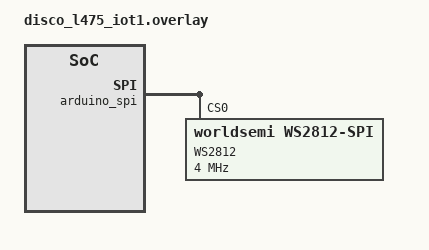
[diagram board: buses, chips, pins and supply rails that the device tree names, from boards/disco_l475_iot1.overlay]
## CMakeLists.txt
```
# SPDX-License-Identifier: Apache-2.0

cmake_minimum_required(VERSION 3.13.1)

set(COMPATIBLE_BOARDS disco_l475_iot1)
if(NOT ${BOARD} IN_LIST COMPATIBLE_BOARDS)
    message(FATAL_ERROR "App $ENV{UROS_APP} not compatible with board ${BOARD}")
endif()

set(BOARD_ROOT ${CMAKE_CURRENT_LIST_DIR})

include($ENV{ZEPHYR_BASE}/cmake/app/boilerplate.cmake NO_POLICY_SCOPE)
project(microrosapp C CXX)

set(microros_src_dir   ${MICRO_ROS_FIRMWARE_DIR}/zephyr_apps/microros_extensions)
set(microros_build_dir ${MICRO_ROS_FIRMWARE_DIR}/build/microros_extensions)

if(${MICRO_ROS_TRANSPORT} STREQUAL "serial")
    add_compile_definitions(MICRO_ROS_TRANSPORT_SERIAL)
elseif(${MICRO_ROS_TRANSPORT} STREQUAL "udp")
    add_compile_definitions(MICRO_ROS_TRANSPORT_UDP)
elseif(${MICRO_ROS_TRANSPORT} STREQUAL "serial-usb")
    add_compile_definitions(MICRO_ROS_TRANSPORT_SERIALUSB)
endif()

FILE(GLOB app_sources src/*.c ${microros_src_dir}/microros_transports.c)
include_directories(${microros_src_dir})

target_sources(app PRIVATE ${app_sources})

zephyr_get_include_directories_for_lang_as_string(       C includes)
zephyr_get_system_include_directories_for_lang_as_string(C system_includes)
zephyr_get_compile_definitions_for_lang_as_string(       C definitions)
zephyr_get_compile_options_for_lang_as_string(           C options)

zephyr_get_include_directories_for_lang_as_string(       CXX includes_cxx)
zephyr_get_system_include_directories_for_lang_as_string(CXX system_includes_cxx)
zephyr_get_compile_definitions_for_lang_as_string(       CXX definitions_cxx)
zephyr_get_compile_options_for_lang_as_string(           CXX options_cxx)

set(external_project_cflags
    "${includes} ${definitions} ${options} ${system_includes}"
    )

set(external_project_cxxflags
    "${includes_cxx} ${definitions_cxx} ${options_cxx} ${system_includes_cxx}"
    )

include(ExternalProject)

set(microros_src_dir   ${MICRO_ROS_FIRMWARE_DIR}/zephyr_apps/microros_extensions)
set(microros_build_dir ${MICRO_ROS_FIRMWARE_DIR}/build/microros_extensions)

if(CMAKE_GENERATOR STREQUAL "Unix Makefiles")
set(submake "$(MAKE)")
else()
set(submake "make")
endif()

ExternalProject_Add(
    microroslib_project                 # Name for custom target
    PREFIX     ${microros_build_dir}    # Root dir for entire project
    SOURCE_DIR ${microros_src_dir}
    BINARY_DIR ${microros_src_dir}      # This particular build system is invoked from the root
    CONFIGURE_COMMAND ""                # Skip configuring the project, e.g. with autoconf
    BUILD_COMMAND
        ${submake}
            PREFIX=${microros_src_dir}
            CC=${CMAKE_C_COMPILER}
            AR=${CMAKE_AR}
            CFLAGS=${external_project_cflags}
            CXX=${CMAKE_CXX_COMPILER}
            CXXFLAGS=${external_project_cxxflags}
            APP_META=$ENV{UROS_APP_FOLDER}/app-colcon.meta

    INSTALL_COMMAND ""      # This particular build system has no install command
    BUILD_BYPRODUCTS ${MICROROS_LIB_DIR}/libmicroros.a
    )

file(MAKE_DIRECTORY ${MICRO_ROS_FIRMWARE_DIR}/mcu_ws/install)
file(MAKE_DIRECTORY ${MICRO_ROS_FIRMWARE_DIR}/mcu_ws/install/include)

set(MICROROS_LIB_DIR     ${MICRO_ROS_FIRMWARE_DIR}/mcu_ws/install)
set(MICROROS_INCLUDE_DIR ${MICRO_ROS_FIRMWARE_DIR}/mcu_ws/install/include)

add_library(microroslib STATIC IMPORTED GLOBAL)
add_dependencies(
    microroslib
    microroslib_project
    )

add_dependencies(microroslib_project offsets_h)

set_target_properties(microroslib PROPERTIES IMPORTED_LOCATION             ${MICROROS_LIB_DIR}/libmicroros.a)
set_target_properties(microroslib PROPERTIES INTERFACE_INCLUDE_DIRECTORIES ${MICROROS_INCLUDE_DIR})

execute_process(
    COMMAND
        make get_package_names
    WORKING_DIRECTORY
        ${microros_src_dir}
    OUTPUT_VARIABLE
        INCLUDE_ROS2_PACKAGES
    )

foreach(pkg ${INCLUDE_ROS2_PACKAGES})
    file(MAKE_DIRECTORY ${MICROROS_INCLUDE_DIR}/${pkg})
    target_include_directories(microroslib INTERFACE ${MICROROS_INCLUDE_DIR}/${pkg})
endforeach()

target_link_libraries(app PUBLIC microroslib)
```

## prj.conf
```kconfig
CONFIG_MAIN_STACK_SIZE=25000
CONFIG_MAIN_THREAD_PRIORITY=3

CONFIG_NEWLIB_LIBC=y
CONFIG_NEWLIB_LIBC_NANO=n
CONFIG_CPLUSPLUS=y
CONFIG_LIB_CPLUSPLUS=y
CONFIG_PTHREAD_IPC=n

CONFIG_POSIX_API=y
CONFIG_NATIVE_POSIX_TIMER=y
CONFIG_APP_LINK_WITH_POSIX_SUBSYS=y
CONFIG_POSIX_CLOCK=y

CONFIG_I2C=y
CONFIG_GPIO=y
CONFIG_SENSOR=y
CONFIG_VL53L0X=y
CONFIG_VL53L0X_PROXIMITY_THRESHOLD=100

CONFIG_LED_STRIP=y
CONFIG_LED_STRIP_LOG_LEVEL_DBG=y
CONFIG_WS2812_STRIP=y
CONFIG_SPI=y
CONFIG_WS2812_STRIP_GPIO=n

CONFIG_STDOUT_CONSOLE=y
CONFIG_USB=y
CONFIG_USB_DEVICE_STACK=y
CONFIG_USB_DEVICE_PRODUCT="Zephyr micro-ROS"
CONFIG_LOG=y
CONFIG_USB_CDC_ACM=y
CONFIG_SERIAL=y
CONFIG_UART_INTERRUPT_DRIVEN=y
CONFIG_UART_LINE_CTRL=y
CONFIG_USB_DRIVER_LOG_LEVEL_ERR=y
CONFIG_USB_DEVICE_LOG_LEVEL_ERR=y
CONFIG_USB_CDC_ACM_RINGBUF_SIZE=2048
```

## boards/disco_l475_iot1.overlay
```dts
/*
 * Copyright (c) 2019, Nordic Semiconductor ASA
 *
 * SPDX-License-Identifier: Apache-2.0
 */

&arduino_spi { /* MOSI on D11 / P0.23 */
	led_strip: ws2812@0 {
		compatible = "worldsemi,ws2812-spi";
		label = "WS2812";

		/* SPI */
		reg = <0>; /* ignored, but necessary for SPI bindings */
		spi-max-frequency = <4000000>;

		/* WS2812 */
		chain-length = <8>; /* arbitrary; change at will */
		spi-one-frame = <0x70>;
		spi-zero-frame = <0x40>;
	};
};

/ {
	aliases {
		led-strip = &led_strip;
	};
};
```

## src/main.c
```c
#include <zephyr.h>
#include <device.h>
#include <devicetree.h>
#include <drivers/sensor.h>
#include <drivers/gpio.h>
#include <drivers/led_strip.h>
#include <drivers/spi.h>
#include <stdio.h>
#include <sys/util.h>
#include <string.h>
#include <sys/printk.h>

#include <rcl/rcl.h>
#include <rcl/error_handling.h>
#include <rclc/rclc.h>
#include <rclc/executor.h>

#include <rmw_microros/rmw_microros.h>
#include <microros_transports.h>

#include <std_msgs/msg/bool.h>
#include <std_msgs/msg/int32.h>

#define RCCHECK(fn) { rcl_ret_t temp_rc = fn; if((temp_rc != RCL_RET_OK)){printk("Failed status on line %d: %d. Aborting.\n",__LINE__,(int)temp_rc);}}
#define RCSOFTCHECK(fn) { rcl_ret_t temp_rc = fn; if((temp_rc != RCL_RET_OK)){printk("Failed status on line %d: %d. Continuing.\n",__LINE__,(int)temp_rc);}}

#define PIN	DT_GPIO_PIN(DT_ALIAS(led0), gpios)

#define STRIP_NUM_PIXELS 8
#define DELAY_TIME K_MSEC(50)
#define RGB(_r, _g, _b) { .r = (_r), .g = (_g), .b = (_b) }

struct led_rgb pixels[STRIP_NUM_PIXELS] = {0};
struct led_rgb old_pixels[STRIP_NUM_PIXELS];

static const struct led_rgb colors[] = {
	RGB(0x0f, 0x00, 0x00), /* red */
	RGB(0x00, 0x0f, 0x00), /* green */
	RGB(0x00, 0x00, 0x0f), /* blue */
};

static struct device *led;
static struct device *strip;
static struct device *tof;

static uint32_t measure_ext = 2000;
static bool trigger = false;

rcl_subscription_t tof_subscription;
rcl_subscription_t trigger_subscription;

std_msgs__msg__Bool led_msg;
std_msgs__msg__Int32 thr_msg;

void trigger_subscription_callback(const void * msgin)
{
	const std_msgs__msg__Bool * msg = (const std_msgs__msg__Bool *)msgin;
	trigger = msg->data;
	gpio_pin_set(led, PIN, (int)(msg->data) ? 1 : 0);

	if(trigger){
		struct led_rgb c = RGB(0x0f, 0x00, 0x00);
		for(size_t j = 0 ; j < STRIP_NUM_PIXELS ; j++){
			memcpy(&pixels[j], &c, sizeof(struct led_rgb));
		}
	}
}

void tof_subscription_callback(const void * msgin)
{
	const std_msgs__msg__Int32 * msg = (const std_msgs__msg__Int32 *)msgin;
	measure_ext = msg->data;

	if(!trigger){
		float val = ((float) measure_ext/1300.0);
		val = (val > 1) ? STRIP_NUM_PIXELS : STRIP_NUM_PIXELS*val;
		int nval = (int)val;

		struct led_rgb c = RGB(0x00, 0x0f, 0x00);
		memset(&pixels, 0x00, sizeof(pixels));
		for(size_t j = 0 ; j < STRIP_NUM_PIXELS-nval ; j++){
			memcpy(&pixels[j], &c, sizeof(struct led_rgb));
		}
	}
}

void main(void)
{	
	// Set custom transports
	rmw_uros_set_custom_transport(
		MICRO_ROS_FRAMING_REQUIRED,
		(void *) &default_params,
		zephyr_transport_open,
		zephyr_transport_close,
		zephyr_transport_write,
		zephyr_transport_read
	);

	// ---- Devices configuration ----
	strip = device_get_binding(DT_LABEL(DT_ALIAS(led_strip)));

	struct led_rgb c = RGB(0x00, 0x00, 0x0f);
	for(size_t j = 0 ; j < STRIP_NUM_PIXELS ; j++){
		memcpy(&pixels[j], &c, sizeof(struct led_rgb));
	}

	led_strip_update_rgb(strip, pixels, STRIP_NUM_PIXELS);


	led = device_get_binding(DT_GPIO_LABEL(DT_ALIAS(led0), gpios));
	gpio_pin_configure(led, PIN, GPIO_OUTPUT_ACTIVE | 0);

	tof = device_get_binding(DT_LABEL(DT_INST(0, st_vl53l0x)));
	struct sensor_value value;

	// ---- micro-ROS configuration ----
	rcl_allocator_t allocator = rcl_get_default_allocator();
	rclc_support_t support;

	// create init_options
	RCCHECK(rclc_support_init(&support, 0, NULL, &allocator));

	// create node
	rcl_node_t node;
	RCCHECK(rclc_node_init_default(&node, "zephyr_tof_leds", "", &support));

	// Creating tof subscriber
	RCCHECK(rclc_subscription_init_default(&trigger_subscription, &node, ROSIDL_GET_MSG_TYPE_SUPPORT(std_msgs, msg, Bool), "/sensors/tof/trigger"));

	// Creating trigger subscriber
	RCCHECK(rclc_subscription_init_default(&tof_subscription, &node, ROSIDL_GET_MSG_TYPE_SUPPORT(std_msgs, msg, Int32), "/sensors/tof"));

	// Creating a executor
	rclc_executor_t executor;
	RCCHECK(rclc_executor_init(&executor, &support.context, 2, &allocator));
	RCCHECK(rclc_executor_add_subscription(&executor, &trigger_subscription, &led_msg, &trigger_subscription_callback, ON_NEW_DATA));
	RCCHECK(rclc_executor_add_subscription(&executor, &tof_subscription, &thr_msg, &tof_subscription_callback, ON_NEW_DATA));


	// ---- Main loop ----
	gpio_pin_set(led, PIN, 0);

	uint32_t measure;

	while (1) {
		s64_t time_stamp;
		s64_t milliseconds_spent;

		time_stamp = k_uptime_get();

		sensor_sample_fetch(tof);
		sensor_channel_get(tof, SENSOR_CHAN_DISTANCE, &value);
		measure = value.val1;
		
		rclc_executor_spin_some(&executor, RCL_MS_TO_NS(10));

		led_strip_update_rgb(strip, pixels, STRIP_NUM_PIXELS);

		milliseconds_spent = k_uptime_delta(&time_stamp);
		// k_sleep(150-milliseconds_spent);

		// printf("Measure is %d mm   Measure external is %d mm\n", measure, measure_ext);
		
		// std_msgs__msg__Int32 msg;
		// msg.data = measure;
		// rcl_publish(&publisher_measure, (const void*)&msg, NULL);		
		// k_sleep(20);
	}
}
```
